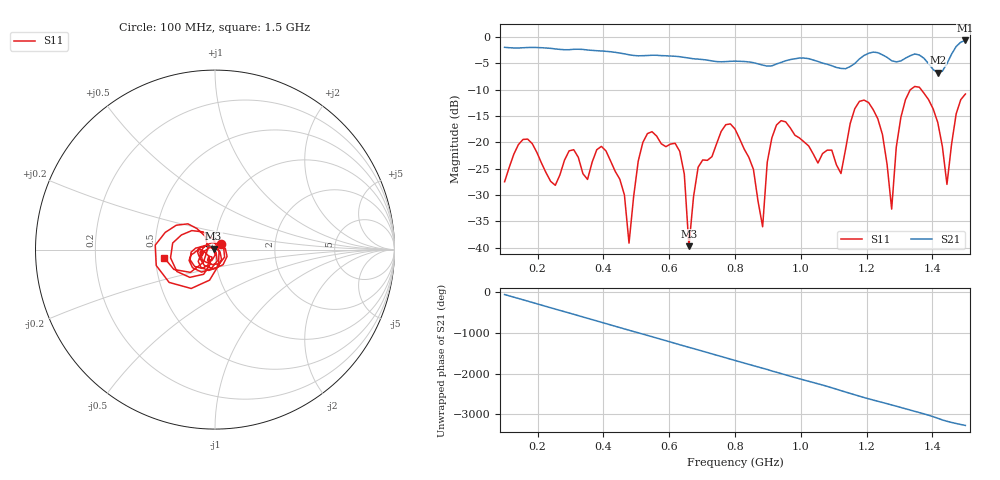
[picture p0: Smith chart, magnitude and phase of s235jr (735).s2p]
! NanoVNA-App
! Date: 2025-09-25 15:09:53
! Start: 100MHz Stop: 1,5GHz Points: 101
! S-Parameter data: F S11 S21 S12 S22
# Hz S RI R 50
!  Frequency  S11_Real  S11_Imag  S21_Real  S21_Imag  S12_Real  S12_Imag  S22_Real  S22_Imag
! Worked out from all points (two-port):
!   101 points, 100 MHz to 1.5 GHz, reference 50 ohm
!   highest |S21| = -0.66 dB at 1.5 GHz (marker M1); lowest = -6.8 dB at 1.416 GHz (marker M2)
!   |S21| within 3 dB of the highest: start of sweep to 618 MHz; 1.189 GHz to 1.256 GHz (67.03 MHz wide, 5.48 % of centre) (the widest 2 of 4)
!   lowest |S11| = -39.7 dB at 660 MHz (marker M3), VSWR 1.02, Z = 49.2 + j0.601 ohm
!   |S11| at or under -10 dB: start of sweep to 1.333 GHz; 1.366 GHz to end of sweep
!   S12 and S22 are empty: the file has one direction only
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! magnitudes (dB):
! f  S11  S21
! 100 MHz  -27.5  -2.0
! 156 MHz  -19.4  -2.0
! 338 MHz  -25.9  -2.4
! 408 MHz  -21.6  -2.7
! 478 MHz  -39.1  -3.4
! 520 MHz  -20.0  -3.6
! 576 MHz  -20.3  -3.5
! 632 MHz  -21.7  -3.7
! 660 MHz  -39.7  -4.0
! 688 MHz  -24.7  -4.2
! 800 MHz  -17.5  -4.6
! 884 MHz  -36.0  -5.3
! 926 MHz  -16.7  -5.1
! 1.038 GHz  -22.2  -4.4
! 1.122 GHz  -25.9  -6.0
! 1.206 GHz  -12.4  -3.1
! 1.276 GHz  -32.7  -4.5
! 1.304 GHz  -15.2  -4.5
! 1.332 GHz  -10.1  -3.6
! 1.416 GHz  -16.2  -6.8
! 1.444 GHz  -28.0  -5.1
! 1.5 GHz  -10.8  -0.7
